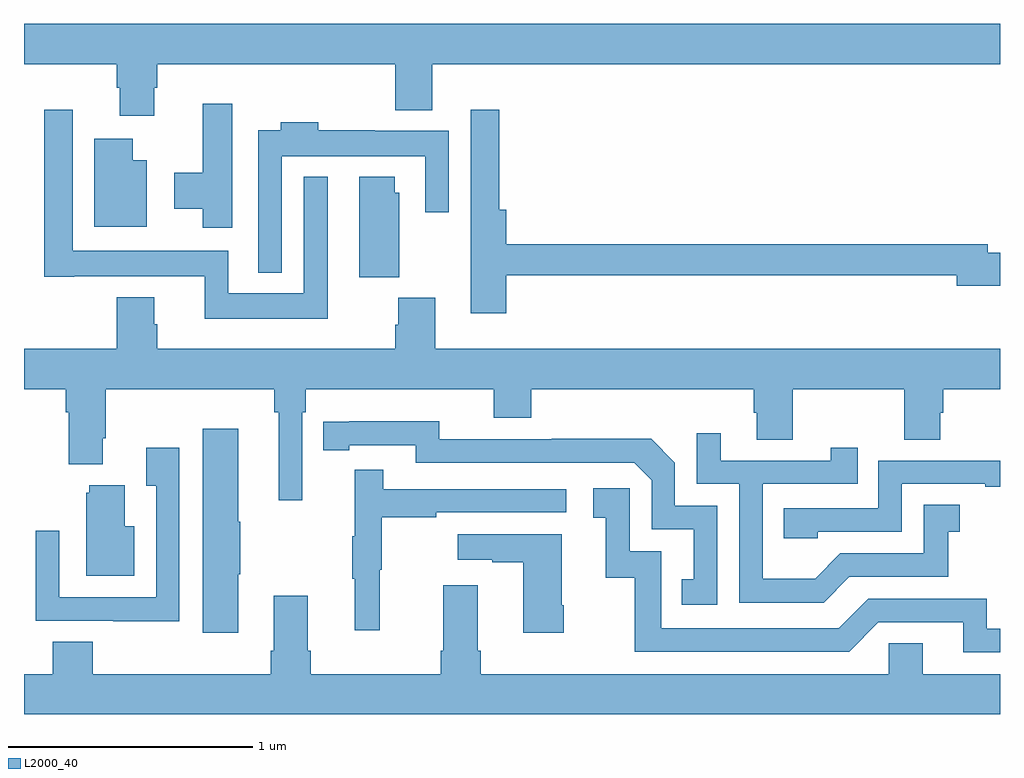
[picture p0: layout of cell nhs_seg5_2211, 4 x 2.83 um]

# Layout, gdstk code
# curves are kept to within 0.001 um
import gdstk
lib = gdstk.Library(unit=1e-6, precision=1e-09)
def P(c, l, *ps):  # polygons
    for p in ps: c.add(gdstk.Polygon(p, *l))
L2000_40 = (2000, 40)

nhs_seg5_2211 = lib.new_cell('nhs_seg5_2211')
P(nhs_seg5_2211, L2000_40, [(239.533,893.958),(239.546,893.958),(239.546,894.056),(240.521,894.056),(240.521,893.867),(240.673,893.867),(240.673,894.056),(243,894.056),(243,894.22),(239,894.22),(239,894.056),(239.381,894.056),(239.381,893.958),(239.393,893.958),(239.393,893.844),(239.533,893.844)],
  [(239.854,893.893),(239.732,893.893),(239.732,893.61),(239.615,893.61),(239.615,893.462),(239.732,893.462),(239.732,893.385),(239.854,893.385)],
  [(240.244,893.593),(240.147,893.593),(240.147,893.116),(239.838,893.116),(239.838,893.29),(239.199,893.29),(239.199,893.869),(239.083,893.869),(239.083,893.184),(239.206,893.184),(239.206,893.186),(239.741,893.186),(239.741,893.012),(240.244,893.012)],
  [(240.977,893.19),(242.822,893.19),(242.822,893.147),(243,893.147),(243,893.282),(242.95,893.282),(242.95,893.318),(240.977,893.318),(240.977,893.458),(240.947,893.458),(240.947,893.869),(240.831,893.869),(240.831,893.295),(240.83,893.295),(240.83,893.034),(240.977,893.034)],
  [(240.057,893.678),(240.645,893.678),(240.645,893.448),(240.741,893.448),(240.741,893.782),(240.437,893.782),(240.437,893.785),(240.206,893.785),(240.206,893.818),(240.053,893.818),(240.053,893.785),(239.961,893.785),(239.961,893.201),(240.057,893.201)],
  [(239.503,893.662),(239.446,893.662),(239.446,893.749),(239.288,893.749),(239.288,893.39),(239.503,893.39)],
  [(240.538,893.529),(240.52,893.529),(240.52,893.593),(240.374,893.593),(240.374,893.182),(240.538,893.182)],
  [(240.926,892.607),(241.079,892.607),(241.079,892.724),(241.991,892.724),(241.991,892.626),(242.003,892.626),(242.003,892.516),(242.151,892.516),(242.151,892.724),(242.608,892.724),(242.608,892.516),(242.755,892.516),(242.755,892.626),(242.768,892.626),(242.768,892.724),(243,892.724),(243,892.888),(240.686,892.888),(240.686,893.097),(240.533,893.097),(240.533,892.988),(240.521,892.988),(240.521,892.888),(239.546,892.888),(239.546,892.989),(239.533,892.989),(239.533,893.101),(239.381,893.101),(239.381,892.888),(239,892.888),(239,892.724),(239.171,892.724),(239.171,892.628),(239.183,892.628),(239.183,892.415),(239.323,892.415),(239.323,892.522),(239.336,892.522),(239.336,892.724),(240.025,892.724),(240.025,892.628),(240.044,892.628),(240.044,892.269),(240.141,892.269),(240.141,892.628),(240.155,892.628),(240.155,892.724),(240.926,892.724)],
  [(241.842,892.245),(241.668,892.245),(241.668,892.422),(241.57,892.52),(241.162,892.52),(241.162,892.518),(240.702,892.518),(240.702,892.591),(240.226,892.59),(240.226,892.474),(240.334,892.474),(240.334,892.494),(240.606,892.494),(240.606,892.422),(241.5,892.422),(241.572,892.35),(241.572,892.149),(241.745,892.149),(241.745,891.945),(241.696,891.945),(241.696,891.84),(241.842,891.84)],
  [(239.878,891.964),(239.886,891.964),(239.886,892.181),(239.878,892.181),(239.878,892.561),(239.732,892.561),(239.732,891.726),(239.878,891.726)],
  [(242.383,891.954),(242.787,891.954),(242.787,892.139),(242.836,892.139),(242.836,892.249),(242.688,892.249),(242.688,892.05),(242.346,892.05),(242.242,891.946),(242.028,891.946),(242.028,892.335),(242.417,892.335),(242.417,892.483),(242.306,892.483),(242.306,892.431),(241.855,892.431),(241.855,892.543),(241.758,892.543),(241.758,892.335),(241.932,892.335),(241.932,891.849),(242.278,891.849)],
  [(239.637,892.483),(239.501,892.483),(239.501,892.327),(239.541,892.327),(239.541,891.87),(239.145,891.87),(239.145,892.144),(239.049,892.144),(239.049,891.774),(239.365,891.774),(239.365,891.773),(239.637,891.773)],
  [(242.253,892.14),(242.598,892.14),(242.598,892.335),(242.939,892.335),(242.939,892.323),(243,892.323),(243,892.431),(242.502,892.431),(242.502,892.236),(242.113,892.236),(242.113,892.113),(242.253,892.113)],
  [(240.458,891.984),(240.466,891.984),(240.466,892.198),(240.689,892.198),(240.689,892.218),(241.222,892.218),(241.222,892.314),(240.473,892.314),(240.473,892.393),(240.356,892.393),(240.356,892.121),(240.345,892.121),(240.345,891.947),(240.356,891.947),(240.356,891.735),(240.458,891.735)],
  [(239.452,892.162),(239.413,892.162),(239.413,892.33),(239.267,892.33),(239.267,892.299),(239.255,892.299),(239.255,891.959),(239.452,891.959)],
  [(243,891.741),(242.946,891.741),(242.946,891.864),(242.46,891.864),(242.34,891.744),(241.611,891.744),(241.611,892.059),(241.482,892.059),(241.482,892.318),(241.332,892.318),(241.332,892.197),(241.385,892.197),(241.385,891.951),(241.503,891.951),(241.503,891.648),(242.382,891.648),(242.502,891.768),(242.849,891.768),(242.849,891.645),(243,891.645)],
  [(241.212,891.838),(241.204,891.838),(241.204,892.129),(240.777,892.129),(240.777,892.025),(240.92,892.025),(240.92,892.015),(241.046,892.015),(241.046,891.726),(241.212,891.726)],
  [(242.544,891.683),(242.544,891.556),(240.872,891.556),(240.872,891.652),(240.859,891.652),(240.859,891.919),(240.719,891.919),(240.719,891.652),(240.707,891.652),(240.707,891.556),(240.176,891.556),(240.176,891.652),(240.163,891.652),(240.163,891.877),(240.023,891.877),(240.023,891.652),(240.011,891.652),(240.011,891.556),(239.282,891.556),(239.282,891.689),(239.117,891.689),(239.117,891.556),(239,891.556),(239,891.392),(243,891.392),(243,891.556),(242.683,891.556),(242.683,891.683)])

lib.write_gds('nhs_seg5_2211.gds')
